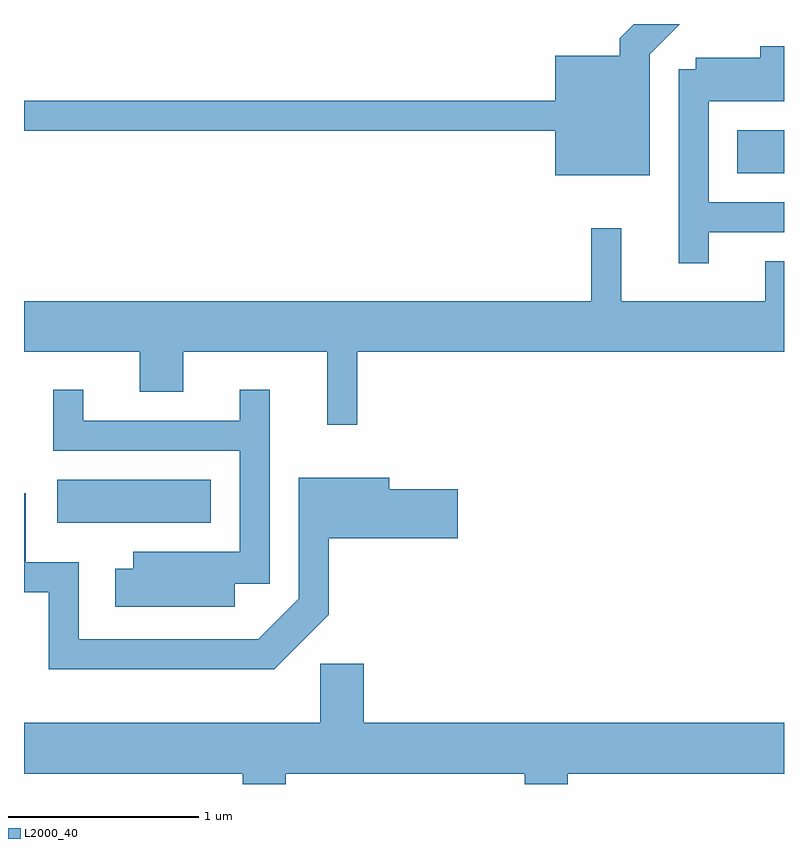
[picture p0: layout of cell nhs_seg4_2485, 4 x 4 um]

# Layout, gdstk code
import gdstk
lib = gdstk.Library(unit=1e-6, precision=1e-09)
def R(c, l, rs):  # rectangles x0, y0, x1, y1
    for r in rs: c.add(gdstk.rectangle(r[:2], r[2:], *l))
def P(c, l, *ps):  # polygons
    for p in ps: c.add(gdstk.Polygon(p, *l))
L2000_40 = (2000, 40)

nhs_seg4_2485 = lib.new_cell('nhs_seg4_2485')
R(nhs_seg4_2485, L2000_40, [(257.786,1329.356,258.594,1329.584), (261.366,1331.196,261.611,1331.424)])
P(nhs_seg4_2485, L2000_40, [(260.904,1331.824),(261.063,1331.982),(260.821,1331.982),(260.746,1331.907),(260.746,1331.814),(260.406,1331.814),(260.406,1331.579),(257.611,1331.579),(257.611,1331.421),(260.406,1331.421),(260.406,1331.186),(260.904,1331.186)],
  [(261.214,1330.886),(261.611,1330.886),(261.611,1331.044),(261.214,1331.044),(261.214,1331.576),(261.611,1331.576),(261.611,1331.864),(261.486,1331.864),(261.486,1331.804),(261.146,1331.804),(261.146,1331.744),(261.056,1331.744),(261.056,1330.723),(261.214,1330.723)],
  [(259.364,1330.256),(261.611,1330.256),(261.611,1330.734),(261.511,1330.734),(261.511,1330.524),(260.754,1330.524),(260.754,1330.908),(260.596,1330.908),(260.596,1330.524),(257.611,1330.524),(257.611,1330.256),(258.221,1330.256),(258.221,1330.046),(258.449,1330.046),(258.449,1330.256),(259.206,1330.256),(259.206,1329.873),(259.364,1329.873)],
  [(258.719,1329.036),(258.904,1329.036),(258.904,1330.058),(258.746,1330.058),(258.746,1329.894),(257.924,1329.894),(257.924,1330.058),(257.766,1330.058),(257.766,1329.736),(258.746,1329.736),(258.746,1329.204),(258.186,1329.204),(258.186,1329.114),(258.091,1329.114),(258.091,1328.916),(258.719,1328.916)],
  [(259.214,1328.874),(259.214,1329.276),(259.894,1329.276),(259.894,1329.534),(259.534,1329.534),(259.534,1329.594),(259.056,1329.594),(259.056,1328.957),(258.844,1328.744),(257.899,1328.744),(257.899,1329.149),(257.619,1329.149),(257.619,1329.513),(257.611,1329.513),(257.611,1328.991),(257.741,1328.991),(257.741,1328.586),(258.927,1328.586)],
  [(258.989,1328.036),(260.246,1328.036),(260.246,1327.982),(260.474,1327.982),(260.474,1328.036),(261.611,1328.036),(261.611,1328.304),(259.399,1328.304),(259.399,1328.614),(259.171,1328.614),(259.171,1328.304),(257.611,1328.304),(257.611,1328.036),(258.761,1328.036),(258.761,1327.982),(258.989,1327.982)])

lib.write_gds('nhs_seg4_2485.gds')
